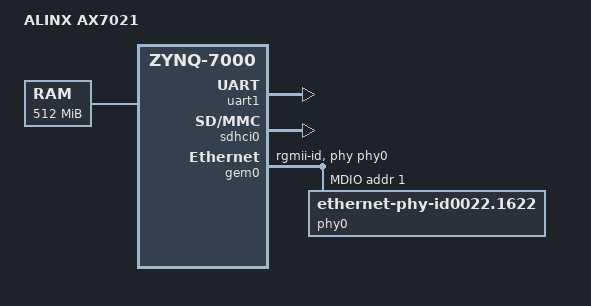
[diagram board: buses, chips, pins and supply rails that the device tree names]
/dts-v1/;
#include "zynq-7000.dtsi"

/ {
    model = "ALINX AX7021";
    compatible = "xlnx,zynq-7000";

    aliases {
        serial0 = &uart1;
        ethernet0 = &gem0;
        mmc0 = &sdhci0;
    };

    chosen {
        stdout-path = "serial0:115200n8";
    };

    memory@0 {
        device_type = "memory";
        reg = <0x0 0x20000000>;  /* 512MB for now, safe */
    };
};

&uart1 {
    status = "okay";
};

&sdhci0 {
    status = "okay";
};

&gem0 {
    status = "okay";
    phy-mode = "rgmii-id";
    phy-handle = <&phy0>;

    mdio {
        #address-cells = <1>;
        #size-cells = <0>;
        phy0: ethernet-phy@1 {
            reg = <1>;
            compatible = "ethernet-phy-id0022.1622", "ethernet-phy-ieee802.3-c22";
        };
    };
};
